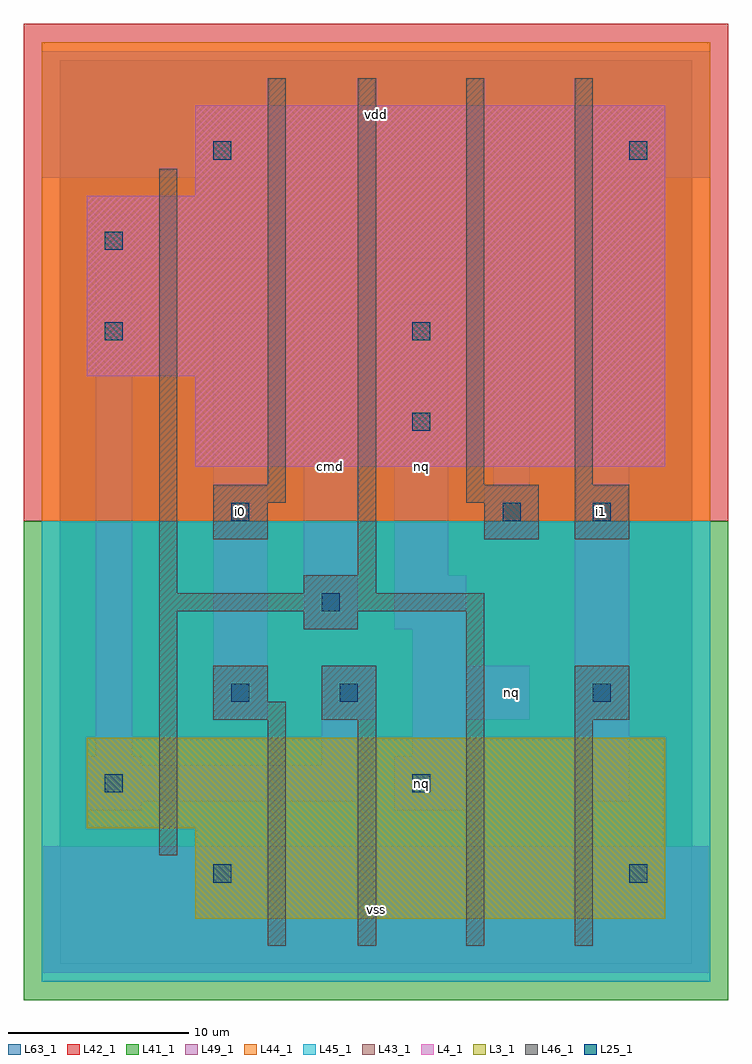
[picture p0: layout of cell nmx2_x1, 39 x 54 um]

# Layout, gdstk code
import gdstk
lib = gdstk.Library(unit=1e-6, precision=1e-09)
def R(c, l, rs):  # rectangles x0, y0, x1, y1
    for r in rs: c.add(gdstk.rectangle(r[:2], r[2:], *l))
L3_1 = (3, 1)
L4_1 = (4, 1)
L25_1 = (25, 1)
L41_1 = (41, 1)
L42_1 = (42, 1)
L43_1 = (43, 1)
L44_1 = (44, 1)
L45_1 = (45, 1)
L46_1 = (46, 1)
L49_1 = (49, 1)
L63_1 = (63, 1)

nmx2_x1 = lib.new_cell('nmx2_x1')
R(nmx2_x1, L3_1, [(7.5,2.5,33.5,7.5), (1.5,7.5,33.5,12.5)])
R(nmx2_x1, L4_1, [(7.5,27.5,33.5,32.5), (1.5,32.5,33.5,42.5), (7.5,42.5,33.5,47.5)])
R(nmx2_x1, L25_1, [(8.5,4.5,9.5,5.5), (31.5,4.5,32.5,5.5), (2.5,9.5,3.5,10.5), (19.5,9.5,20.5,10.5), (9.5,14.5,10.5,15.5), (15.5,14.5,16.5,15.5), (29.5,14.5,30.5,15.5), (14.5,19.5,15.5,20.5), (9.5,24.5,10.5,25.5), (24.5,24.5,25.5,25.5), (29.5,24.5,30.5,25.5), (19.5,29.5,20.5,30.5), (2.5,34.5,3.5,35.5), (19.5,34.5,20.5,35.5), (2.5,39.5,3.5,40.5), (8.5,44.5,9.5,45.5), (31.5,44.5,32.5,45.5)])
R(nmx2_x1, L41_1, [(-2,-2,37,24.5)])
R(nmx2_x1, L42_1, [(-2,24.5,37,52)])
R(nmx2_x1, L43_1, [(7.5,2.5,33.5,7.5), (1.5,7.5,33.5,12.5), (7.5,27.5,33.5,32.5), (1.5,32.5,33.5,42.5), (7.5,42.5,33.5,47.5)])
R(nmx2_x1, L44_1, [(-1,24.5,36,51)])
R(nmx2_x1, L45_1, [(-1,-1,36,24.5)])
R(nmx2_x1, L46_1, [(11.5,1,12.5,13.5), (16.5,1,17.5,13.5), (22.5,1,23.5,19.5), (28.5,1,29.5,13.5), (5.5,6,6.5,19.5), (8.5,13.5,12.5,14.5), (14.5,13.5,17.5,16.5), (28.5,13.5,31.5,16.5), (8.5,14.5,11.5,16.5), (13.5,18.5,16.5,19.5), (5.5,19.5,23.5,20.5), (5.5,20.5,6.5,44), (13.5,20.5,17.5,21.5), (16.5,21.5,17.5,49), (8.5,23.5,11.5,25.5), (23.5,23.5,26.5,25.5), (28.5,23.5,31.5,26.5), (8.5,25.5,12.5,26.5), (22.5,25.5,26.5,26.5), (11.5,26.5,12.5,49), (22.5,26.5,23.5,49), (28.5,26.5,29.5,49)])
R(nmx2_x1, L49_1, [(-1,-0.5,36,6.5), (1.5,8.5,4.5,9), (18.5,8.5,22.5,11.5), (1.5,9,16.5,11), (28.5,9,31.5,41), (1.5,11,4.5,11.5), (14.5,11,16.5,13.5), (2,11.5,4,33.5), (19.5,11.5,22.5,13.5), (8.5,13.5,11.5,36), (14.5,13.5,17.5,16.5), (19.5,13.5,26,16.5), (19.5,16.5,22.5,18.5), (13.5,18.5,16.5,36), (18.5,18.5,22.5,21.5), (18.5,21.5,21.5,36.5), (23.5,23.5,26.5,26.5), (24,26.5,26,39), (1.5,33.5,4.5,36.5), (2,36.5,4,38.5), (1.5,38.5,4.5,39), (1.5,39,26,41), (1.5,41,4.5,41.5), (-1,43.5,36,50.5)])
R(nmx2_x1, L63_1, [(0,0,35,50)])
nmx2_x1.add(gdstk.Label('i0', (10,25), layer=49, texttype=1))
nmx2_x1.add(gdstk.Label('i0', (10,25), layer=49, texttype=1))
nmx2_x1.add(gdstk.Label('cmd', (15,27.5), layer=49, texttype=1))
nmx2_x1.add(gdstk.Label('cmd', (15,27.5), layer=49, texttype=1))
nmx2_x1.add(gdstk.Label('vss', (17.5,3), layer=49, texttype=1))
nmx2_x1.add(gdstk.Label('vss', (17.5,3), layer=49, texttype=1))
nmx2_x1.add(gdstk.Label('nq', (20,10), layer=49, texttype=1))
nmx2_x1.add(gdstk.Label('nq', (20,10), layer=49, texttype=1))
nmx2_x1.add(gdstk.Label('nq', (25,15), layer=49, texttype=1))
nmx2_x1.add(gdstk.Label('nq', (25,15), layer=49, texttype=1))
nmx2_x1.add(gdstk.Label('nq', (20,27.5), layer=49, texttype=1))
nmx2_x1.add(gdstk.Label('nq', (20,27.5), layer=49, texttype=1))
nmx2_x1.add(gdstk.Label('vdd', (17.5,47), layer=49, texttype=1))
nmx2_x1.add(gdstk.Label('vdd', (17.5,47), layer=49, texttype=1))
nmx2_x1.add(gdstk.Label('i1', (30,25), layer=49, texttype=1))
nmx2_x1.add(gdstk.Label('i1', (30,25), layer=49, texttype=1))

lib.write_gds('nmx2_x1.gds')
